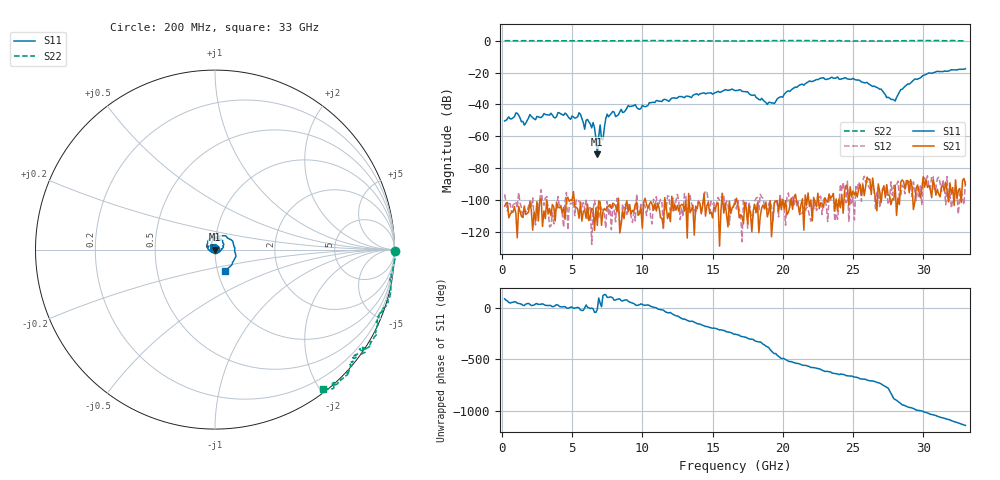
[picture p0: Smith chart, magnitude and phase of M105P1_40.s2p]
# GHZ S RI R 50
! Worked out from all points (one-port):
!   329 points, 200 MHz to 33 GHz, reference 50 ohm
!   lowest |S11| = -71.3 dB at 6.8 GHz (marker M1), VSWR 1.00, Z = 50 - j0.00741 ohm
!   |S11| at or under -10 dB: start of sweep to end of sweep
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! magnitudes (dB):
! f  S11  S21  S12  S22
! 200 MHz  -50.4  -103.9  -96.5  0.0
! 1 GHz  -45.4  -108.4  -100.8  0.0
! 1.6 GHz  -53.0  -103.7  -105.5  0.0
! 2 GHz  -46.4  -101.4  -100.5  0.0
! 5.7 GHz  -48.7  -113.3  -104.5  -0.1
! 5.9 GHz  -55.6  -106.3  -106.0  -0.1
! 6 GHz  -50.0  -111.5  -99.4  0.0
! 6.5 GHz  -51.4  -106.0  -106.2  0.0
! 6.8 GHz  -71.3  -116.0  -104.2  -0.1
! 7 GHz  -52.9  -101.3  -102.6  -0.1
! 7.1 GHz  -61.8  -116.0  -106.0  -0.1
! 7.2 GHz  -62.2  -107.2  -106.0  -0.1
! 7.5 GHz  -46.2  -104.6  -101.0  -0.1
! 11.2 GHz  -38.0  -105.2  -101.9  0.1
! 16.6 GHz  -31.4  -102.0  -99.8  -0.1
! 18.9 GHz  -40.1  -110.6  -106.7  0.0
! 22.1 GHz  -25.6  -113.1  -106.1  0.1
! 25 GHz  -23.6  -94.3  -98.5  -0.2
! 27.6 GHz  -36.0  -97.1  -100.6  -0.1
! 28 GHz  -37.9  -90.7  -91.6  0.0
! 30.4 GHz  -20.2  -90.9  -91.3  0.1
! 33 GHz  -17.6  -90.4  -88.3  -0.1
